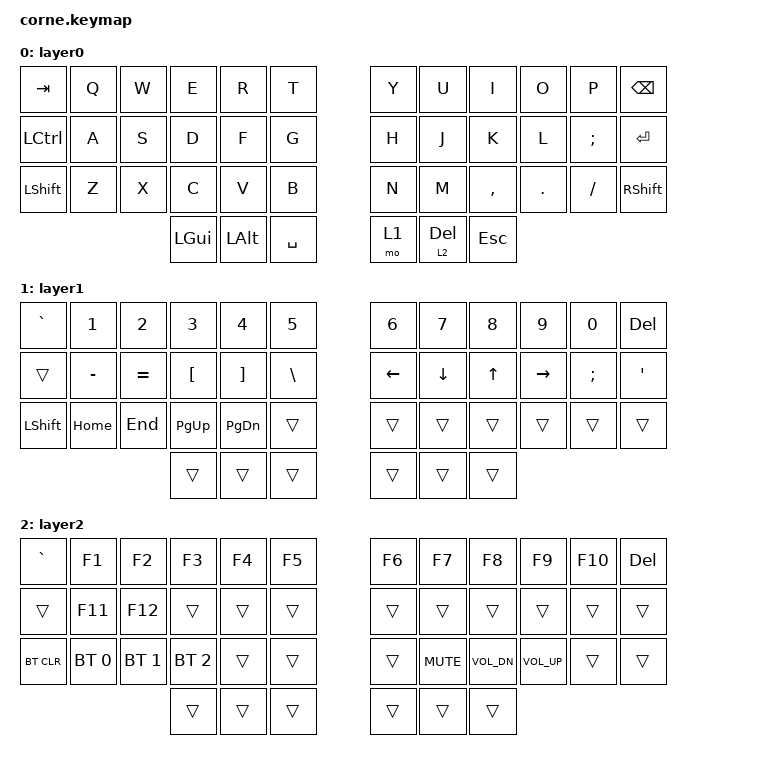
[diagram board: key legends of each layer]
/*
 * Copyright (c) 2020 The ZMK Contributors
 *
 * SPDX-License-Identifier: MIT
 */

#include <behaviors.dtsi>
#include <dt-bindings/zmk/keys.h>
#include <dt-bindings/zmk/bt.h>

/ {
        keymap {
                compatible = "zmk,keymap";

                layer0 {
// -----------------------------------------------------------------------------------------
// |  TAB |  Q  |  W  |  E  |  R  |  T  |   |  Y  |  U   |  I  |  O  |  P  | BKSP |
// | CTRL |  A  |  S  |  D  |  F  |  G  |   |  H  |  J   |  K  |  L  |  ;  | ENT  |
// | SHFT |  Z  |  X  |  C  |  V  |  B  |   |  N  |  M   |  ,  |  .  |  /  | SHFT |
//                    | GUI | ALT | SPC |   | L1  |DEL.L2| ESC |
                        bindings = <
   &kp TAB   &kp Q     &kp W    &kp E    &kp R    &kp T   &kp Y   &kp U      &kp I     &kp O    &kp P     &kp BSPC
   &kp LCTRL &kp A     &kp S    &kp D    &kp F    &kp G   &kp H   &kp J      &kp K     &kp L    &kp SEMI  &kp ENTER
   &kp LSHFT &kp Z     &kp X    &kp C    &kp V    &kp B   &kp N   &kp M      &kp COMMA &kp DOT  &kp FSLH  &kp RSHFT
                       &kp LGUI &kp LALT &kp SPACE        &mo 1   &lt 2 DEL  &kp ESC
                        >;
                };
                layer1 {
// -----------------------------------------------------------------------------------------
// |  `~  |  1  |  2  |  3  |  4  |  5  |   |  6  |  7  |  8  |  9  |  0  | DEL  |
// |      |  -_ |  += |  [{ |  ]} |  \| |   | LFT | DWN |  UP | RGT |  ;  |  '   |
// |      |HOME | END |PGUP |PGDN |     |   |     |     |     |     |     |      |
//                    |     |     |     |   |     |     |     |
                        bindings = <
   &kp GRAVE  &kp N1      &kp N2      &kp N3       &kp N4      &kp N5       &kp N6    &kp N7    &kp N8   &kp N9     &kp N0   &kp DEL
   &trans     &kp MINUS   &kp EQUAL   &kp LBKT     &kp RBKT    &kp BSLH     &kp LEFT  &kp DOWN  &kp UP   &kp RIGHT  &kp SEMI &kp SQT
   &kp LSHFT  &kp HOME    &kp END     &kp PG_UP    &kp PG_DN   &trans       &trans    &trans    &trans   &trans     &trans   &trans
                          	        &trans     &trans      &trans       &trans    &trans    &trans
                        >;
                };

                layer2 {
// -----------------------------------------------------------------------------------------
// |  `~  |  F1 |  F2 |  F3 |  F4 |  F5 |   |  F6 |  F7 |  F8 |  F9 | F10 | DEL |
// |      | F11 | F12 |     |     |     |   |     |     |     |     |     |     |
// |BT CLR| BT0 | BT1 | BT2 |     |     |   |     |MUTE |VOLDN|VOLUP|     |     |
//                    |     |     |     |   |     |     |     |
                        bindings = <
   &kp GRAVE   &kp F1        &kp F2        &kp F3         &kp F4   &kp F5      &kp F6   &kp F7      &kp F8         &kp F9         &kp F10   &kp DEL
   &trans      &kp F11       &kp F12       &trans         &trans   &trans      &trans   &trans      &trans         &trans         &trans    &trans
   &bt BT_CLR  &bt BT_SEL 0  &bt BT_SEL 1  &bt BT_SEL 2   &trans   &trans      &trans   &kp C_MUTE  &kp C_VOL_DN   &kp C_VOL_UP   &trans    &trans
                    	                   &trans         &trans   &trans      &trans   &trans      &trans
                        >;
                };
        };
};
